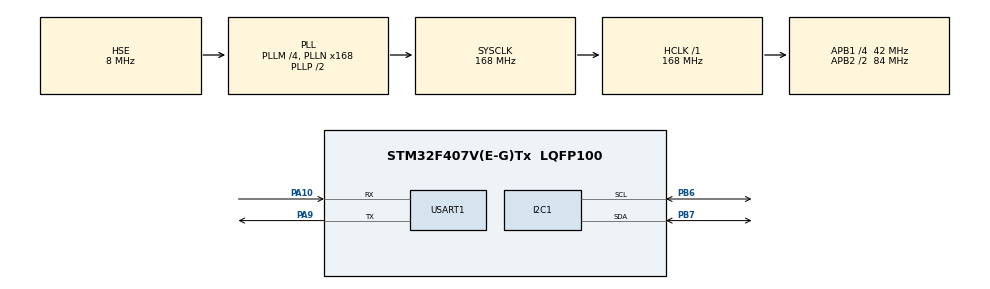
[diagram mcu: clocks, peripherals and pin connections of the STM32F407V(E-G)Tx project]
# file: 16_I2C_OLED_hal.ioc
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I2C1.DutyCycle=I2C_DUTYCYCLE_16_9
I2C1.I2C_Mode=I2C_Fast
Mcu.Family=STM32F4
Mcu.Name=STM32F407V(E-G)Tx
Mcu.Package=LQFP100
NVIC.PriorityGroup=NVIC_PRIORITYGROUP_4
PA10.Mode=Asynchronous
PA10.Signal=USART1_RX
PA13.Mode=Serial_Wire
PA13.Signal=SYS_JTMS-SWDIO
PA14.Mode=Serial_Wire
PA14.Signal=SYS_JTCK-SWCLK
PA9.Mode=Asynchronous
PA9.Signal=USART1_TX
PB6.Mode=I2C
PB6.Signal=I2C1_SCL
PB7.Mode=I2C
PB7.Signal=I2C1_SDA
PH0-OSC_IN.Mode=HSE-External-Oscillator
PH0-OSC_IN.Signal=RCC_OSC_IN
PH1-OSC_OUT.Mode=HSE-External-Oscillator
PH1-OSC_OUT.Signal=RCC_OSC_OUT
ProjectManager.HeapSize=0x200
ProjectManager.StackSize=0x400
ProjectManager.TargetToolchain=MDK-ARM V5.32
RCC.48MHZClocksFreq_Value=84000000
RCC.AHBFreq_Value=168000000
RCC.APB1CLKDivider=RCC_HCLK_DIV4
RCC.APB1Freq_Value=42000000
RCC.APB1TimFreq_Value=84000000
RCC.APB2CLKDivider=RCC_HCLK_DIV2
RCC.APB2Freq_Value=84000000
RCC.APB2TimFreq_Value=168000000
RCC.CortexFreq_Value=168000000
RCC.HCLKFreq_Value=168000000
RCC.HSE_VALUE=8000000
RCC.HSI_VALUE=16000000
RCC.LSE_VALUE=32768
RCC.PLLM=4
RCC.PLLN=168
RCC.PLLSourceVirtual=RCC_PLLSOURCE_HSE
RCC.SYSCLKFreq_VALUE=168000000
RCC.SYSCLKSource=RCC_SYSCLKSOURCE_PLLCLK
RCC.VCOOutputFreq_Value=336000000
USART1.VirtualMode=VM_ASYNC
board=custom

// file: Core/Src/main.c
/* USER CODE BEGIN Header */
/**
  ******************************************************************************
  * @file           : main.c
  * @brief          : Main program body
  ******************************************************************************
  * @attention
  *
  * Copyright (c) 2025 STMicroelectronics.
  * All rights reserved.
  *
  * This software is licensed under terms that can be found in the LICENSE file
  * in the root directory of this software component.
  * If no LICENSE file comes with this software, it is provided AS-IS.
  *
  ******************************************************************************
  */
/* USER CODE END Header */
#include "main.h"
#include "i2c.h"
#include "usart.h"
#include "gpio.h"

/* USER CODE BEGIN Includes */
#include "oled.h"
#include "bmp.h"
/* USER CODE END Includes */

void SystemClock_Config(void);

int main(void)
{

  /* MCU Configuration--------------------------------------------------------*/

  /* Reset of all peripherals, Initializes the Flash interface and the Systick. */
  HAL_Init();

  /* Configure the system clock */
  SystemClock_Config();

  /* Initialize all configured peripherals */
  MX_GPIO_Init();
  MX_I2C1_Init();
  MX_USART1_UART_Init();
  /* USER CODE BEGIN 2 */
printf("start printf\n");
	int i = 10;
	printf("%d\n", i);

	u8 t = ' ';
	OLED_Init(); // 初始化OLED
  /* USER CODE END 2 */

  /* Infinite loop */
  /* USER CODE BEGIN WHILE */
  while (1)
  {
    OLED_ShowPicture(0, 0, 128, 64, BMP1, 1);
		OLED_Refresh();
		delay_1ms(500);
		OLED_Clear();
		OLED_ShowChinese(0, 0, 0, 16, 1);	// 中
		OLED_ShowChinese(18, 0, 1, 16, 1);	// 景
		OLED_ShowChinese(36, 0, 2, 16, 1);	// 园
		OLED_ShowChinese(54, 0, 3, 16, 1);	// 电
		OLED_ShowChinese(72, 0, 4, 16, 1);	// 子
		OLED_ShowChinese(90, 0, 5, 16, 1);	// 技
		OLED_ShowChinese(108, 0, 6, 16, 1); // 术
		OLED_ShowString(8, 16, (u8 *)"ZHONGJINGYUAN", 16, 1);
		OLED_ShowString(20, 32, (u8 *)"2014/05/01", 16, 1);
		OLED_ShowString(0, 48, (u8 *)"ASCII:", 16, 1);
		OLED_ShowString(63, 48, (u8 *)"CODE:", 16, 1);
		OLED_ShowChar(48, 48, t, 16, 1); // 显示ASCII字符
		t++;
		if (t > '~')
			t = ' ';
		OLED_ShowNum(103, 48, t, 3, 16, 1);
		OLED_Refresh();
		HAL_Delay(500);
		OLED_Clear();
		OLED_ShowChinese(0, 0, 0, 16, 1);	// 16*16 中
		OLED_ShowChinese(16, 0, 0, 24, 1);	// 24*24 中
		OLED_ShowChinese(24, 20, 0, 32, 1); // 32*32 中
		OLED_ShowChinese(64, 0, 0, 64, 1);	// 64*64 中
		OLED_Refresh();
		HAL_Delay(500);
		OLED_Clear();
		OLED_ShowString(0, 0, (u8 *)"ABC", 8, 1);	// 6*8 “ABC”
		OLED_ShowString(0, 8, (u8 *)"ABC", 12, 1);	// 6*12 “ABC”
		OLED_ShowString(0, 20, (u8 *)"ABC", 16, 1); // 8*16 “ABC”
		OLED_ShowString(0, 36, (u8 *)"ABC", 24, 1); // 12*24 “ABC”
		OLED_Refresh();
		HAL_Delay(500);
		OLED_ScrollDisplay(11, 4, 1);
    /* USER CODE END WHILE */

  }
}

void SystemClock_Config(void)
{
  RCC_OscInitTypeDef RCC_OscInitStruct = {0};
  RCC_ClkInitTypeDef RCC_ClkInitStruct = {0};

  /** Configure the main internal regulator output voltage
  */
  __HAL_RCC_PWR_CLK_ENABLE();
  __HAL_PWR_VOLTAGESCALING_CONFIG(PWR_REGULATOR_VOLTAGE_SCALE1);

  /** Initializes the RCC Oscillators according to the specified parameters
  * in the RCC_OscInitTypeDef structure.
  */
  RCC_OscInitStruct.OscillatorType = RCC_OSCILLATORTYPE_HSE;
  RCC_OscInitStruct.HSEState = RCC_HSE_ON;
  RCC_OscInitStruct.PLL.PLLState = RCC_PLL_ON;
  RCC_OscInitStruct.PLL.PLLSource = RCC_PLLSOURCE_HSE;
  RCC_OscInitStruct.PLL.PLLM = 4;
  RCC_OscInitStruct.PLL.PLLN = 168;
  RCC_OscInitStruct.PLL.PLLP = RCC_PLLP_DIV2;
  RCC_OscInitStruct.PLL.PLLQ = 4;
  if (HAL_RCC_OscConfig(&RCC_OscInitStruct) != HAL_OK)
  {
    Error_Handler();
  }

  /** Initializes the CPU, AHB and APB buses clocks
  */
  RCC_ClkInitStruct.ClockType = RCC_CLOCKTYPE_HCLK|RCC_CLOCKTYPE_SYSCLK
                              |RCC_CLOCKTYPE_PCLK1|RCC_CLOCKTYPE_PCLK2;
  RCC_ClkInitStruct.SYSCLKSource = RCC_SYSCLKSOURCE_PLLCLK;
  RCC_ClkInitStruct.AHBCLKDivider = RCC_SYSCLK_DIV1;
  RCC_ClkInitStruct.APB1CLKDivider = RCC_HCLK_DIV4;
  RCC_ClkInitStruct.APB2CLKDivider = RCC_HCLK_DIV2;

  if (HAL_RCC_ClockConfig(&RCC_ClkInitStruct, FLASH_LATENCY_5) != HAL_OK)
  {
    Error_Handler();
  }
}

void Error_Handler(void)
{
  __disable_irq();
  while (1)
  {
  }
}
